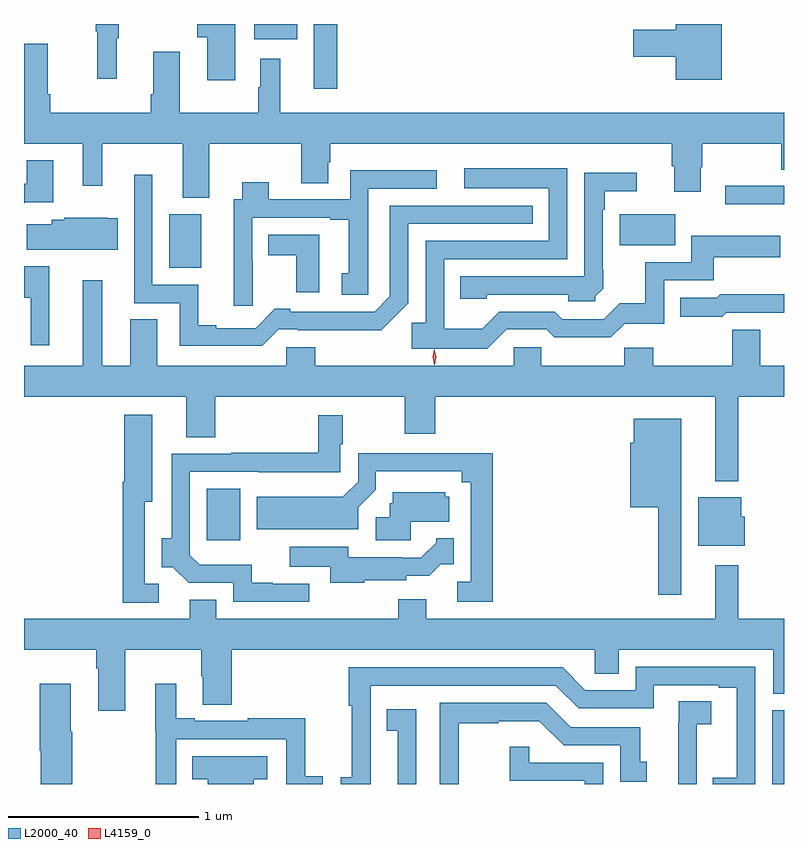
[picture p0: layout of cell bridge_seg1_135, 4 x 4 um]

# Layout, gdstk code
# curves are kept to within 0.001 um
import gdstk
lib = gdstk.Library(unit=1e-6, precision=1e-09)
def R(c, l, rs):  # rectangles x0, y0, x1, y1
    for r in rs: c.add(gdstk.rectangle(r[:2], r[2:], *l))
def P(c, l, *ps):  # polygons
    for p in ps: c.add(gdstk.Polygon(p, *l))
L2000_40 = (2000, 40)
L4159_0 = (4159, 0)

bridge_seg1_135 = lib.new_cell('bridge_seg1_135')
R(bridge_seg1_135, L2000_40, [(415.176,576.334,415.237,576.723), (412.199,577.617,412.375,577.888), (412.001,579.05,412.171,579.334), (414.372,579.17,414.665,579.334), (414.927,579.386,415.237,579.483), (412.763,579.993,412.885,580.334), (412.448,580.253,412.675,580.334)])
P(bridge_seg1_135, L2000_40, [(412.348,580.334),(412.148,580.334),(412.148,580.265),(412.202,580.265),(412.202,580.038),(412.348,580.038)],
  [(411.725,580.259),(411.736,580.259),(411.736,580.334),(411.615,580.334),(411.615,580.296),(411.622,580.296),(411.622,580.047),(411.725,580.047)],
  [(414.91,580.334),(414.668,580.334),(414.668,580.304),(414.444,580.304),(414.444,580.162),(414.668,580.162),(414.668,580.04),(414.91,580.04)],
  [(412.213,579.704),(412.697,579.704),(412.697,579.496),(412.837,579.496),(412.837,579.606),(412.85,579.606),(412.85,579.704),(414.647,579.704),(414.647,579.585),(414.659,579.585),(414.659,579.45),(414.799,579.45),(414.799,579.58),(414.807,579.58),(414.807,579.704),(415.222,579.704),(415.222,579.568),(415.237,579.568),(415.237,579.868),(412.585,579.868),(412.585,580.15),(412.481,580.15),(412.481,580.001),(412.471,580.001),(412.471,579.868),(412.057,579.868),(412.057,580.189),(411.917,580.189),(411.917,579.964),(411.905,579.964),(411.905,579.868),(411.374,579.868),(411.374,579.964),(411.361,579.964),(411.361,580.231),(411.237,580.231),(411.237,579.704),(411.545,579.704),(411.545,579.483),(411.649,579.483),(411.649,579.704),(412.073,579.704),(412.073,579.419),(412.213,579.419)],
  [(411.243,579.396),(411.391,579.396),(411.391,579.616),(411.251,579.616),(411.251,579.493),(411.237,579.493),(411.237,579.39)],
  [(413.779,578.727),(413.985,578.727),(414.028,578.685),(414.326,578.685),(414.398,578.756),(414.606,578.756),(414.606,578.985),(414.866,578.985),(414.866,579.107),(415.216,579.107),(415.216,579.22),(414.75,579.22),(414.75,579.081),(414.508,579.081),(414.508,578.865),(414.372,578.865),(414.288,578.781),(414.069,578.781),(414.03,578.82),(413.739,578.82),(413.649,578.73),(413.448,578.73),(413.448,579.096),(414.096,579.096),(414.096,579.574),(413.553,579.574),(413.553,579.47),(414,579.47),(414,579.192),(413.352,579.192),(413.352,578.762),(413.279,578.762),(413.279,578.624),(413.676,578.624)],
  [(412.44,579.09),(412.437,579.09),(412.437,579.315),(412.85,579.315),(412.85,579.303),(412.946,579.303),(412.946,579.023),(412.91,579.023),(412.91,578.91),(413.048,578.91),(413.048,579.022),(413.05,579.022),(413.05,579.468),(413.41,579.468),(413.41,579.565),(412.953,579.565),(412.953,579.411),(412.525,579.411),(412.525,579.502),(412.385,579.502),(412.385,579.411),(412.34,579.411),(412.34,578.85),(412.44,578.85)],
  [(414.243,578.9),(414.285,578.941),(414.285,579.04),(414.282,579.04),(414.282,579.356),(414.294,579.356),(414.294,579.453),(414.463,579.453),(414.463,579.55),(414.186,579.55),(414.186,579.006),(413.533,579.006),(413.533,578.889),(413.673,578.889),(413.673,578.91),(414.101,578.91),(414.101,578.874),(414.243,578.874)],
  [(412.578,578.727),(412.678,578.727),(412.678,578.723),(413.118,578.723),(413.259,578.864),(413.259,579.282),(413.915,579.282),(413.915,579.378),(413.163,579.378),(413.163,578.901),(413.082,578.82),(412.639,578.82),(412.639,578.835),(412.557,578.835),(412.456,578.734),(412.249,578.734),(412.249,578.749),(412.154,578.749),(412.154,578.961),(411.912,578.961),(411.912,579.541),(411.816,579.541),(411.816,578.865),(412.056,578.865),(412.056,578.64),(412.491,578.64)],
  [(411.731,579.312),(411.678,579.312),(411.678,579.313),(411.45,579.313),(411.45,579.304),(411.384,579.304),(411.384,579.281),(411.252,579.281),(411.252,579.146),(411.731,579.146)],
  [(412.792,579.225),(412.522,579.225),(412.522,579.117),(412.67,579.117),(412.67,578.922),(412.792,578.922)],
  [(411.37,579.058),(411.237,579.058),(411.237,578.894),(411.272,578.894),(411.272,578.643),(411.37,578.643)],
  [(414.997,578.372),(415.237,578.372),(415.237,578.536),(415.111,578.536),(415.111,578.726),(414.964,578.726),(414.964,578.536),(414.549,578.536),(414.549,578.629),(414.395,578.629),(414.395,578.536),(413.96,578.536),(413.96,578.634),(413.814,578.634),(413.814,578.536),(412.769,578.536),(412.769,578.634),(412.617,578.634),(412.617,578.536),(411.937,578.536),(411.937,578.78),(411.797,578.78),(411.797,578.536),(411.649,578.536),(411.649,578.986),(411.545,578.986),(411.545,578.536),(411.237,578.536),(411.237,578.372),(412.091,578.372),(412.091,578.158),(412.244,578.158),(412.244,578.372),(413.242,578.372),(413.242,578.178),(413.402,578.178),(413.402,578.372),(414.875,578.372),(414.875,577.928),(414.997,577.928)],
  [(414.933,578.814),(415.237,578.814),(415.237,578.911),(414.901,578.911),(414.882,578.892),(414.691,578.892),(414.691,578.792),(414.911,578.792)],
  [(411.946,577.389),(411.873,577.389),(411.873,577.82),(411.913,577.82),(411.913,578.278),(411.764,578.278),(411.764,577.924),(411.757,577.924),(411.757,577.289),(411.946,577.289)],
  [(412.738,577.389),(412.547,577.389),(412.547,577.394),(412.436,577.394),(412.436,577.488),(412.163,577.487),(412.11,577.539),(412.11,577.977),(412.902,577.976),(412.902,578.121),(412.915,578.121),(412.915,578.275),(412.786,578.275),(412.786,578.078),(412.327,578.078),(412.327,578.073),(412.014,578.073),(412.014,577.628),(411.962,577.628),(411.962,577.475),(412.021,577.475),(412.104,577.392),(412.338,577.392),(412.338,577.293),(412.738,577.293)],
  [(414.697,578.257),(414.446,578.257),(414.446,578.13),(414.428,578.13),(414.428,577.79),(414.576,577.79),(414.576,577.329),(414.697,577.329)],
  [(413.705,578.076),(412.995,578.076),(412.995,577.926),(412.915,577.846),(412.463,577.846),(412.463,577.676),(412.995,577.676),(412.995,577.79),(413.088,577.883),(413.088,577.98),(413.542,577.98),(413.542,577.922),(413.589,577.922),(413.589,577.398),(413.517,577.398),(413.517,577.293),(413.705,577.293)],
  [(413.272,577.715),(413.476,577.715),(413.476,577.845),(413.454,577.845),(413.454,577.87),(413.177,577.87),(413.177,577.812),(413.161,577.812),(413.161,577.737),(413.088,577.737),(413.088,577.616),(413.272,577.616)],
  [(415.03,577.74),(415.012,577.74),(415.012,577.843),(414.785,577.843),(414.785,577.589),(415.03,577.589)],
  [(413.028,577.406),(413.25,577.406),(413.25,577.43),(413.369,577.43),(413.43,577.491),(413.499,577.491),(413.499,577.627),(413.406,577.627),(413.406,577.605),(413.325,577.524),(413.225,577.524),(413.225,577.527),(412.944,577.527),(412.944,577.582),(412.635,577.582),(412.635,577.478),(412.848,577.478),(412.848,577.394),(413.028,577.394)],
  [(411.769,577.04),(412.171,577.04),(412.171,576.902),(412.178,576.902),(412.178,576.751),(412.331,576.751),(412.331,577.04),(414.24,577.04),(414.24,576.913),(414.367,576.913),(414.367,577.04),(415.181,577.04),(415.181,576.808),(415.237,576.808),(415.237,577.204),(414.997,577.204),(414.997,577.486),(414.875,577.486),(414.875,577.204),(413.353,577.204),(413.353,577.306),(413.206,577.306),(413.206,577.204),(412.249,577.204),(412.249,577.303),(412.109,577.303),(412.109,577.204),(411.237,577.204),(411.237,577.04),(411.617,577.04),(411.617,576.944),(411.629,576.944),(411.629,576.72),(411.769,576.72)],
  [(413.062,576.524),(413.061,576.852),(414.036,576.852),(414.156,576.732),(414.552,576.732),(414.552,576.855),(414.893,576.855),(414.893,576.84),(414.989,576.84),(414.989,576.367),(414.862,576.367),(414.862,576.334),(415.086,576.334),(415.086,576.951),(414.456,576.951),(414.456,576.828),(414.192,576.828),(414.072,576.948),(412.945,576.948),(412.945,576.745),(412.963,576.745),(412.963,576.369),(412.905,576.369),(412.905,576.334),(413.062,576.334)],
  [(411.492,576.61),(411.484,576.61),(411.484,576.862),(411.32,576.862),(411.32,576.51),(411.326,576.51),(411.326,576.334),(411.492,576.334)],
  [(412.038,576.57),(412.617,576.57),(412.617,576.334),(412.81,576.334),(412.81,576.374),(412.716,576.374),(412.716,576.679),(412.414,576.679),(412.414,576.666),(412.135,576.666),(412.135,576.679),(412.039,576.679),(412.039,576.862),(411.929,576.862),(411.929,576.617),(411.93,576.617),(411.93,576.334),(412.038,576.334)],
  [(414.777,576.451),(414.779,576.451),(414.779,576.649),(414.853,576.649),(414.853,576.77),(414.682,576.77),(414.682,576.659),(414.68,576.659),(414.68,576.334),(414.777,576.334)],
  [(413.525,576.654),(413.732,576.654),(413.732,576.665),(413.95,576.665),(414.078,576.537),(414.374,576.537),(414.374,576.346),(414.514,576.346),(414.514,576.45),(414.481,576.45),(414.481,576.633),(414.114,576.633),(413.985,576.762),(413.424,576.762),(413.424,576.334),(413.525,576.334)],
  [(413.301,576.727),(413.146,576.727),(413.146,576.614),(413.204,576.614),(413.204,576.334),(413.301,576.334)],
  [(414.285,576.447),(413.895,576.447),(413.895,576.529),(413.794,576.529),(413.794,576.351),(414.189,576.351),(414.189,576.334),(414.285,576.334)],
  [(412.447,576.359),(412.516,576.359),(412.516,576.481),(412.123,576.481),(412.123,576.359),(412.205,576.359),(412.205,576.334),(412.447,576.334)])
P(bridge_seg1_135, L4159_0, [(413.397,578.541),(413.387,578.582),(413.397,578.622),(413.397,578.622),(413.397,578.622),(413.407,578.582),(413.398,578.541),(413.398,578.541)])

lib.write_gds('bridge_seg1_135.gds')
